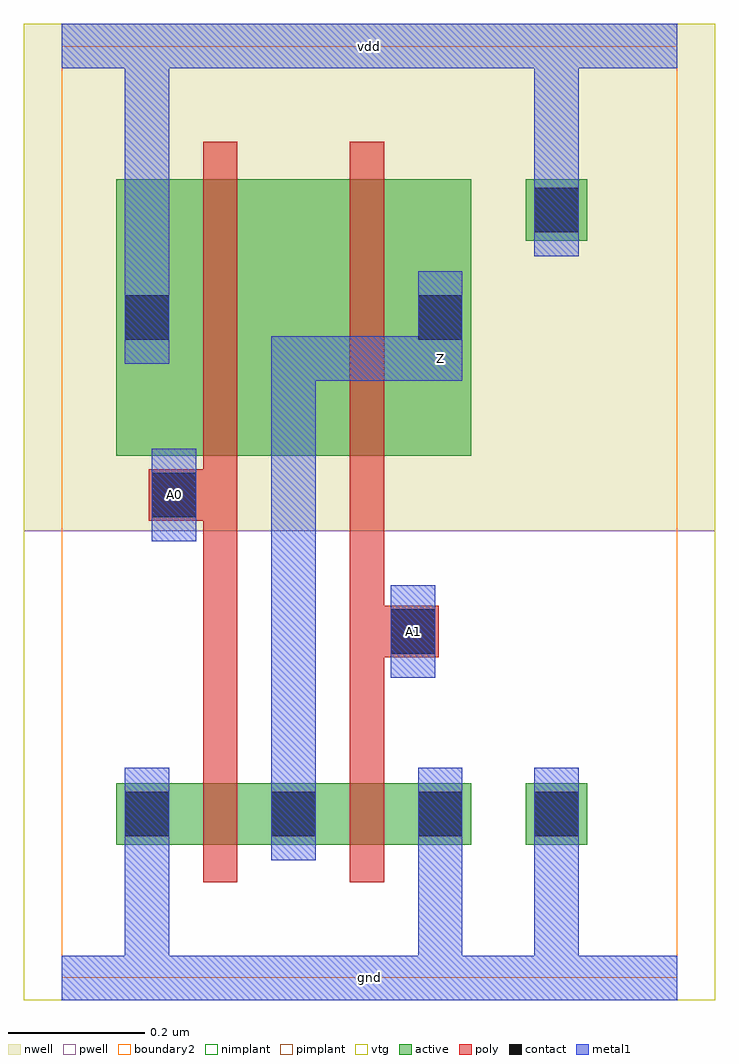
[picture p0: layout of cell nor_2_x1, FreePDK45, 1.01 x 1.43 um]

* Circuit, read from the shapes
.subckt nor_2_x1 A0 A1 Z gnd vdd
M1 Z A0 gnd gnd nfet w=0.09u l=0.05u
M2 gnd A1 Z gnd nfet w=0.09u l=0.05u
M3 sram_1rw0r0w_8_16_freepdk45_pmos_m1_w0_405_sm1_dactive_0/A3 A0 vdd vdd pfet w=0.405u l=0.05u
M4 Z A1 sram_1rw0r0w_8_16_freepdk45_pmos_m1_w0_405_sm1_dactive_0/A3 vdd pfet w=0.405u l=0.05u
.ends

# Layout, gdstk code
import gdstk
lib = gdstk.Library(unit=1e-6, precision=5e-10)
def R(c, l, rs):  # rectangles x0, y0, x1, y1
    for r in rs: c.add(gdstk.rectangle(r[:2], r[2:], *l))
active = (1, 0)
pwell = (2, 0)
nwell = (3, 0)
nimplant = (4, 0)
pimplant = (5, 0)
vtg = (6, 0)
poly = (9, 0)
contact = (10, 0)
metal1 = (11, 0)
boundary2 = (239, 0)

sram_1rw0r0w_8_16_freepd = lib.new_cell('sram_1rw0r0w_8_16_freepdk45_contact_8')
R(sram_1rw0r0w_8_16_freepd, active, [(0,0.0225,0.09,0.1125)])
R(sram_1rw0r0w_8_16_freepd, nwell, [(-0.055,-0.0325,0.145,0.1675)])
R(sram_1rw0r0w_8_16_freepd, pimplant, [(0,0.0225,0.09,0.1125)])
R(sram_1rw0r0w_8_16_freepd, contact, [(0.0125,0.035,0.0775,0.1)])
R(sram_1rw0r0w_8_16_freepd, metal1, [(0.0125,0,0.0775,0.135)])
R(sram_1rw0r0w_8_16_freepd, boundary2, [(-0.055,-0.0325,0.145,0.1675)])

c_sram_1rw0r0w_8_16_freepd = lib.new_cell('sram_1rw0r0w_8_16_freepdk45_pmos_m1_w0_405_sm1_dactive')
R(c_sram_1rw0r0w_8_16_freepd, active, [(0,0,0.305,0.405), (0.215,0.1575,0.305,0.2475)])
R(c_sram_1rw0r0w_8_16_freepd, nwell, [(-0.08,-0.08,0.385,0.485)])
R(c_sram_1rw0r0w_8_16_freepd, pimplant, [(0,0,0.305,0.405)])
R(c_sram_1rw0r0w_8_16_freepd, vtg, [(-0.08,-0.08,0.385,0.485)])
R(c_sram_1rw0r0w_8_16_freepd, poly, [(0.1275,-0.055,0.1775,0.46), (0.1275,-0.055,0.1775,0.46)])
R(c_sram_1rw0r0w_8_16_freepd, metal1, [(0.0125,0.135,0.0775,0.27)])
R(c_sram_1rw0r0w_8_16_freepd, boundary2, [(-0.08,-0.08,0.385,0.485)])
c_sram_1rw0r0w_8_16_freepd.add(gdstk.Reference(sram_1rw0r0w_8_16_freepd, (0,0.135)))
c_sram_1rw0r0w_8_16_freepd.add(gdstk.Label('G', (0.1525,0.2025), layer=9, texttype=0))
c_sram_1rw0r0w_8_16_freepd.add(gdstk.Label('S', (0.045,0.2025), layer=11, texttype=0))
c_sram_1rw0r0w_8_16_freepd.add(gdstk.Label('A3', (0.26,0.2025), layer=1, texttype=0))

c_sram_1rw0r0w_8_16_freepd_ = lib.new_cell('sram_1rw0r0w_8_16_freepdk45_pmos_m1_w0_405_sactive_dm1')
R(c_sram_1rw0r0w_8_16_freepd_, active, [(0,0,0.305,0.405), (0,0.1575,0.09,0.2475)])
R(c_sram_1rw0r0w_8_16_freepd_, nwell, [(-0.08,-0.08,0.385,0.485)])
R(c_sram_1rw0r0w_8_16_freepd_, pimplant, [(0,0,0.305,0.405)])
R(c_sram_1rw0r0w_8_16_freepd_, vtg, [(-0.08,-0.08,0.385,0.485)])
R(c_sram_1rw0r0w_8_16_freepd_, poly, [(0.1275,-0.055,0.1775,0.46), (0.1275,-0.055,0.1775,0.46)])
R(c_sram_1rw0r0w_8_16_freepd_, metal1, [(0.2275,0.135,0.2925,0.27)])
R(c_sram_1rw0r0w_8_16_freepd_, boundary2, [(-0.08,-0.08,0.385,0.485)])
c_sram_1rw0r0w_8_16_freepd_.add(gdstk.Reference(sram_1rw0r0w_8_16_freepd, (0.215,0.135)))
c_sram_1rw0r0w_8_16_freepd_.add(gdstk.Label('G', (0.1525,0.2025), layer=9, texttype=0))
c_sram_1rw0r0w_8_16_freepd_.add(gdstk.Label('S', (0.045,0.2025), layer=1, texttype=0))
c_sram_1rw0r0w_8_16_freepd_.add(gdstk.Label('A3', (0.26,0.2025), layer=11, texttype=0))

c_sram_1rw0r0w_8_16_freepd__ = lib.new_cell('sram_1rw0r0w_8_16_freepdk45_contact_7')
R(c_sram_1rw0r0w_8_16_freepd__, active, [(0,0.0225,0.09,0.1125)])
R(c_sram_1rw0r0w_8_16_freepd__, pwell, [(-0.055,-0.0325,0.145,0.1675)])
R(c_sram_1rw0r0w_8_16_freepd__, nimplant, [(0,0.0225,0.09,0.1125)])
R(c_sram_1rw0r0w_8_16_freepd__, contact, [(0.0125,0.035,0.0775,0.1)])
R(c_sram_1rw0r0w_8_16_freepd__, metal1, [(0.0125,0,0.0775,0.135)])
R(c_sram_1rw0r0w_8_16_freepd__, boundary2, [(-0.055,-0.0325,0.145,0.1675)])

c_sram_1rw0r0w_8_16_freepd___ = lib.new_cell('sram_1rw0r0w_8_16_freepdk45_nmos_m1_w0_090_sm1_dm1')
R(c_sram_1rw0r0w_8_16_freepd___, active, [(0,0,0.305,0.09)])
R(c_sram_1rw0r0w_8_16_freepd___, pwell, [(-0.08,-0.08,0.385,0.17)])
R(c_sram_1rw0r0w_8_16_freepd___, nimplant, [(0,0,0.305,0.09)])
R(c_sram_1rw0r0w_8_16_freepd___, vtg, [(-0.08,-0.08,0.385,0.17)])
R(c_sram_1rw0r0w_8_16_freepd___, poly, [(0.1275,-0.055,0.1775,0.145), (0.1275,-0.055,0.1775,0.145)])
R(c_sram_1rw0r0w_8_16_freepd___, metal1, [(0.0125,-0.0225,0.0775,0.1125), (0.2275,-0.0225,0.2925,0.1125)])
R(c_sram_1rw0r0w_8_16_freepd___, boundary2, [(-0.08,-0.08,0.385,0.17)])
c_sram_1rw0r0w_8_16_freepd___.add(gdstk.Reference(c_sram_1rw0r0w_8_16_freepd__, (0,-0.0225)))
c_sram_1rw0r0w_8_16_freepd___.add(gdstk.Reference(c_sram_1rw0r0w_8_16_freepd__, (0.215,-0.0225)))
c_sram_1rw0r0w_8_16_freepd___.add(gdstk.Label('G', (0.1525,0.045), layer=9, texttype=0))
c_sram_1rw0r0w_8_16_freepd___.add(gdstk.Label('S', (0.045,0.045), layer=11, texttype=0))
c_sram_1rw0r0w_8_16_freepd___.add(gdstk.Label('A3', (0.26,0.045), layer=11, texttype=0))

c_sram_1rw0r0w_8_16_freepd____ = lib.new_cell('sram_1rw0r0w_8_16_freepdk45_contact_9')
R(c_sram_1rw0r0w_8_16_freepd____, active, [(0,0.0225,0.09,0.1125)])
R(c_sram_1rw0r0w_8_16_freepd____, nwell, [(-0.055,-0.0325,0.145,0.1675)])
R(c_sram_1rw0r0w_8_16_freepd____, nimplant, [(0,0.0225,0.09,0.1125)])
R(c_sram_1rw0r0w_8_16_freepd____, contact, [(0.0125,0.035,0.0775,0.1)])
R(c_sram_1rw0r0w_8_16_freepd____, metal1, [(0.0125,0,0.0775,0.135)])
R(c_sram_1rw0r0w_8_16_freepd____, boundary2, [(-0.055,-0.0325,0.145,0.1675)])

c_sram_1rw0r0w_8_16_freepd_____ = lib.new_cell('sram_1rw0r0w_8_16_freepdk45_contact_10')
R(c_sram_1rw0r0w_8_16_freepd_____, active, [(0,0.0225,0.09,0.1125)])
R(c_sram_1rw0r0w_8_16_freepd_____, pwell, [(-0.055,-0.0325,0.145,0.1675)])
R(c_sram_1rw0r0w_8_16_freepd_____, pimplant, [(0,0.0225,0.09,0.1125)])
R(c_sram_1rw0r0w_8_16_freepd_____, contact, [(0.0125,0.035,0.0775,0.1)])
R(c_sram_1rw0r0w_8_16_freepd_____, metal1, [(0.0125,0,0.0775,0.135)])
R(c_sram_1rw0r0w_8_16_freepd_____, boundary2, [(-0.055,-0.0325,0.145,0.1675)])

c_sram_1rw0r0w_8_16_freepd______ = lib.new_cell('sram_1rw0r0w_8_16_freepdk45_contact_11')
R(c_sram_1rw0r0w_8_16_freepd______, poly, [(0,0.03,0.075,0.105)])
R(c_sram_1rw0r0w_8_16_freepd______, contact, [(0.005,0.035,0.07,0.1)])
R(c_sram_1rw0r0w_8_16_freepd______, metal1, [(0.005,0,0.07,0.135)])
R(c_sram_1rw0r0w_8_16_freepd______, boundary2, [(0,0,0.075,0.135)])

nor_2_x1 = lib.new_cell('nor_2_x1')
R(nor_2_x1, pwell, [(-0.055,-0.0325,0.9575,0.655)])
R(nor_2_x1, nwell, [(-0.055,0.655,0.9575,1.3975)])
R(nor_2_x1, vtg, [(-0.055,-0.0325,0.9575,0.655), (-0.055,0.655,0.9575,1.3975)])
R(nor_2_x1, poly, [(0.2075,0.34,0.2575,0.71), (0.4225,0.34,0.4725,0.71), (0.4225,0.47,0.515,0.545), (0.165,0.67,0.2075,0.745)])
R(nor_2_x1, metal1, [(0,-0.0325,0.9025,0.0325), (0.0925,-0.0325,0.1575,0.1725), (0.5225,-0.0325,0.5875,0.1725), (0.6925,0,0.7575,0.24), (0.3075,0.24,0.3725,0.9075), (0.4825,0.44,0.5475,0.575), (0.1325,0.64,0.1975,0.775), (0.3075,0.875,0.3725,0.94), (0.34,0.875,0.555,0.94), (0.5225,0.875,0.5875,0.94), (0.5225,0.875,0.5875,0.94), (0.0925,0.9,0.1575,1.3975), (0.5225,0.9075,0.5875,0.9675), (0.6925,1.125,0.7575,1.365), (0,1.3325,0.9025,1.3975)])
R(nor_2_x1, boundary2, [(0,0,0.9025,1.365), (0,0,0.9025,1.365)])
nor_2_x1.add(gdstk.Reference(c_sram_1rw0r0w_8_16_freepd, (0.08,0.765)))
nor_2_x1.add(gdstk.Reference(c_sram_1rw0r0w_8_16_freepd_, (0.295,0.765)))
nor_2_x1.add(gdstk.Reference(c_sram_1rw0r0w_8_16_freepd___, (0.08,0.195)))
nor_2_x1.add(gdstk.Reference(c_sram_1rw0r0w_8_16_freepd___, (0.295,0.195)))
nor_2_x1.add(gdstk.Reference(c_sram_1rw0r0w_8_16_freepd____, (0.68,1.0575)))
nor_2_x1.add(gdstk.Reference(c_sram_1rw0r0w_8_16_freepd_____, (0.68,0.1725)))
nor_2_x1.add(gdstk.Reference(c_sram_1rw0r0w_8_16_freepd______, (0.4775,0.44)))
nor_2_x1.add(gdstk.Reference(c_sram_1rw0r0w_8_16_freepd______, (0.1275,0.64)))
nor_2_x1.add(gdstk.Label('A1', (0.515,0.5075), layer=11, texttype=0))
nor_2_x1.add(gdstk.Label('A0', (0.165,0.7075), layer=11, texttype=0))
nor_2_x1.add(gdstk.Label('Z', (0.555,0.9075), layer=11, texttype=0))
nor_2_x1.add(gdstk.Label('gnd', (0.451,0), layer=11, texttype=0))
nor_2_x1.add(gdstk.Label('vdd', (0.451,1.365), layer=11, texttype=0))

lib.write_gds('nor_2_x1.gds')
